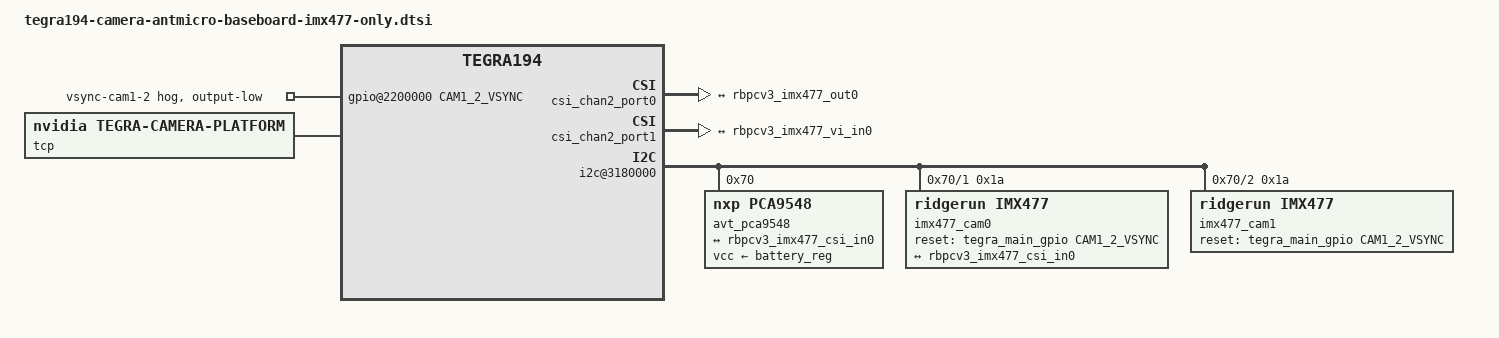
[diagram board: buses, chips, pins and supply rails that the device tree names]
/*
 * Copyright (c) 2018-2020, NVIDIA CORPORATION.  All rights reserved.
 *
 * This program is free software; you can redistribute it and/or modify
 * it under the terms of the GNU General Public License as published by
 * the Free Software Foundation; either version 2 of the License, or
 * (at your option) any later version.
 *
 * This program is distributed in the hope that it will be useful, but WITHOUT
 * ANY WARRANTY; without even the implied warranty of MERCHANTABILITY or
 * FITNESS FOR A PARTICULAR PURPOSE.  See the GNU General Public License for
 * more details.
 *
 * You should have received a copy of the GNU General Public License
 * along with this program.  If not, see <http://www.gnu.org/licenses/>.
 */
#include <dt-bindings/media/camera.h>

#define CAMERA_I2C_MUX_BUS(x) (0x1E + x)

#define CAM1_2_VSYNC	TEGRA194_MAIN_GPIO(Q, 4)

/ {
	gpio@2200000 {

		vsync-cam1-2 {
			gpio-hog;
			output-low;
			gpios = <CAM1_2_VSYNC 0>;
			label = "vsync-cam1-2";
			status = "okay";
		};

	};

	host1x {
		vi@15c10000  {
			num-channels = <1>;
			ports {
				#address-cells = <1>;
				#size-cells = <0>;
				vi_port0: port@0 {
					reg = <0>;
					rbpcv3_imx477_vi_in0: endpoint {
						status = "okay";
						port-index = <2>;
						bus-width = <2>;
						remote-endpoint = <&rbpcv3_imx477_csi_out0>;
					};
				};
			};
		};

		nvcsi@15a00000 {
			num-channels = <1>;
			#address-cells = <1>;
			#size-cells = <0>;
			csi_chan0: channel@0 {
				reg = <0>;
				ports {
					#address-cells = <1>;
					#size-cells = <0>;
					csi_chan2_port0: port@0 {
						reg = <0>;
						status = "okay";
						rbpcv3_imx477_csi_in0: endpoint@0 {
							port-index = <2>;
							bus-width = <2>;
							remote-endpoint = <&rbpcv3_imx477_out0>;
						};
					};
					csi_chan2_port1: port@1 {
						reg = <1>;
						status = "okay";
						rbpcv3_imx477_csi_out0: endpoint@1 {
							status = "okay";
							remote-endpoint = <&rbpcv3_imx477_vi_in0>;
						};
					};
				};
			};
		};
	};

	i2c@3180000 {
		avt_pca9548: avt_pca9548@70 {
			compatible = "nxp,pca9548";
			status = "okay";
			reg = <0x70>;
			#address-cells = <1>;
			#size-cells = <0>;
			vcc-supply = <&battery_reg>;
			force_bus_start = <CAMERA_I2C_MUX_BUS(0)>;

			/* I2C mux position 1 is the "right" camera on J6
			   Virtual I2C bus 31
			   It uses VSYNC_CAM1__2 == pin 216 == GPIO11 == GPIO3_PQ.06
			   It uses CSI ports 2 and 3 */
			i2c@1 {
				reg = <1>;
				i2c-mux,deselect-on-exit;
				#address-cells = <1>;
				#size-cells = <0>;
				imx477_cam0: imx477@1a {
					compatible = "ridgerun,imx477";
					/* I2C device address */
					reg = <0x1a>;

					/* V4L2 device node location */
					devnode = "video0";

					/* Physical dimensions of sensor */
					physical_w = "7.564";
					physical_h = "5.476";

					sensor_model = "imx477";

					use_sensor_mode_id = "true";

					// Technically, this isn't connected...
					reset-gpios = <&tegra_main_gpio CAM1_2_VSYNC GPIO_ACTIVE_HIGH>;


					mode0 { /* IMX477_MODE_4032X3040 */
						mclk_khz = "24000";
						num_lanes = "2";
						tegra_sinterface = "serial_c";
						phy_mode = "DPHY";
						discontinuous_clk = "no";
						dpcm_enable = "false";
						cil_settletime = "0";

						active_w = "4032";
						active_h = "3040";
						mode_type = "bayer";
						pixel_phase = "rggb";
						csi_pixel_bit_depth = "10";
						readout_orientation = "90";
						line_length = "9024";
						inherent_gain = "1";
						mclk_multiplier = "80";
						pix_clk_hz = "840000000";

						gain_factor = "16";
						framerate_factor = "1000000";
						exposure_factor = "1000000";
						min_gain_val = "16"; /* 1.00x */
						max_gain_val = "356"; /* 22x */
						step_gain_val = "1";
						default_gain = "16"; /* 1.00x */
						min_hdr_ratio = "1";
						max_hdr_ratio = "1";
						min_framerate = "2000000"; /* 2.0 fps */
						max_framerate = "30000000"; /* 30.0 fps */
						step_framerate = "1";
						default_framerate = "30000000"; /* 30.0 fps */
						min_exp_time = "13"; /* us */
						max_exp_time = "683709"; /* us */
						step_exp_time = "1";
						default_exp_time = "2495"; /* us */

						embedded_metadata_height = "2";
					};
					mode1 { /* IMX477_MODE_1920X1080 */
						mclk_khz = "24000";
						num_lanes = "2";
						tegra_sinterface = "serial_c";
						phy_mode = "DPHY";
						discontinuous_clk = "no";
						dpcm_enable = "false";
						cil_settletime = "0";

						active_w = "1920";
						active_h = "1080";
						mode_type = "bayer";
						pixel_phase = "rggb";
						csi_pixel_bit_depth = "10";
						readout_orientation = "90";
						line_length = "9024";
						inherent_gain = "1";
						mclk_multiplier = "80";
						pix_clk_hz = "840000000";

						gain_factor = "16";
						framerate_factor = "1000000";
						exposure_factor = "1000000";
						min_gain_val = "16"; /* 1.00x */
						max_gain_val = "356"; /* 22x */
						step_gain_val = "1";
						default_gain = "16"; /* 1.00x */
						min_hdr_ratio = "1";
						max_hdr_ratio = "1";
						min_framerate = "2000000"; /* 2.0 fps */
						max_framerate = "60000000"; /* 60.0 fps */
						step_framerate = "1";
						default_framerate = "60000000"; /* 60.0 fps */
						min_exp_time = "13"; /* us */
						max_exp_time = "683709"; /* us */
						step_exp_time = "1";
						default_exp_time = "2495"; /* us */

						embedded_metadata_height = "2";
					};
					mode2 { /* IMX477_MODE_1920X1440 */
						mclk_khz = "24000";
						num_lanes = "2";
						tegra_sinterface = "serial_c";
						phy_mode = "DPHY";
						discontinuous_clk = "no";
						dpcm_enable = "false";
						cil_settletime = "0";

						active_w = "1920";
						active_h = "1440";
						mode_type = "bayer";
						pixel_phase = "rggb";
						csi_pixel_bit_depth = "10";
						readout_orientation = "90";
						line_length = "6524";
						inherent_gain = "1";
						mclk_multiplier = "80";
						pix_clk_hz = "840000000";

						gain_factor = "16";
						framerate_factor = "1000000";
						exposure_factor = "1000000";
						min_gain_val = "16"; /* 1.00x */
						max_gain_val = "356"; /* 22x */
						step_gain_val = "1";
						default_gain = "16"; /* 1.00x */
						min_hdr_ratio = "1";
						max_hdr_ratio = "1";
						min_framerate = "2000000"; /* 2.0 fps */
						max_framerate = "60000000"; /* 60.0 fps */
						step_framerate = "1";
						default_framerate = "60000000"; /* 60.0 fps */
						min_exp_time = "13"; /* us */
						max_exp_time = "683709"; /* us */
						step_exp_time = "1";
						default_exp_time = "2495"; /* us */

						embedded_metadata_height = "2";
					};
					mode3 { /* IMX477_MODE_2028X1520 */
						mclk_khz = "24000";
						num_lanes = "2";
						tegra_sinterface = "serial_c";
						phy_mode = "DPHY";
						discontinuous_clk = "no";
						dpcm_enable = "false";
						cil_settletime = "0";

						active_w = "2028";
						active_h = "1520";
						mode_type = "bayer";
						pixel_phase = "rggb";
						csi_pixel_bit_depth = "10";
						readout_orientation = "90";
						line_length = "6524";
						inherent_gain = "1";
						mclk_multiplier = "80";
						pix_clk_hz = "840000000";

						gain_factor = "16";
						framerate_factor = "1000000";
						exposure_factor = "1000000";
						min_gain_val = "16"; /* 1.00x */
						max_gain_val = "356"; /* 22x */
						step_gain_val = "1";
						default_gain = "16"; /* 1.00x */
						min_hdr_ratio = "1";
						max_hdr_ratio = "1";
						min_framerate = "2000000"; /* 2.0 fps */
						max_framerate = "60000000"; /* 60.0 fps */
						step_framerate = "1";
						default_framerate = "60000000"; /* 60.0 fps */
						min_exp_time = "13"; /* us */
						max_exp_time = "683709"; /* us */
						step_exp_time = "1";
						default_exp_time = "2495"; /* us */

						embedded_metadata_height = "2";
					};

					ports {
						#address-cells = <1>;
						#size-cells = <0>;
						port@0 {
							reg = <0>;
							rbpcv3_imx477_out0: endpoint {
								port-index = <2>;
								bus-width = <2>;
								remote-endpoint = <&rbpcv3_imx477_csi_in0>;
							};
						};
					};
				};
			};

						/* I2C mux position 2 is the "right" camera on J7
			   Virtual I2C bus 32
			   It uses VSYNC_CAM2__2 == pin 130 == GPIO06 == GPIO3_PCC.03
			   It uses CSI ports 0 and 1 */
			i2c@2 {
				reg = <2>;
				i2c-mux,deselect-on-exit;
				#address-cells = <1>;
				#size-cells = <0>;
				imx477_cam1: imx477@1a {
					compatible = "ridgerun,imx477";
					/* I2C device address */
					reg = <0x1a>;

					/* V4L2 device node location */
					devnode = "video1";

					/* Physical dimensions of sensor */
					physical_w = "7.564";
					physical_h = "5.476";

					sensor_model = "imx477";

					use_sensor_mode_id = "true";

					// Technically, this isn't connected...
					reset-gpios = <&tegra_main_gpio CAM1_2_VSYNC GPIO_ACTIVE_HIGH>;


					mode0 { /* IMX477_MODE_4032X3040 */
						mclk_khz = "24000";
						num_lanes = "2";
						tegra_sinterface = "serial_c";
						phy_mode = "DPHY";
						discontinuous_clk = "no";
						dpcm_enable = "false";
						cil_settletime = "0";

						active_w = "4032";
						active_h = "3040";
						mode_type = "bayer";
						pixel_phase = "rggb";
						csi_pixel_bit_depth = "10";
						readout_orientation = "90";
						line_length = "9024";
						inherent_gain = "1";
						mclk_multiplier = "80";
						pix_clk_hz = "840000000";

						gain_factor = "16";
						framerate_factor = "1000000";
						exposure_factor = "1000000";
						min_gain_val = "16"; /* 1.00x */
						max_gain_val = "356"; /* 22x */
						step_gain_val = "1";
						default_gain = "16"; /* 1.00x */
						min_hdr_ratio = "1";
						max_hdr_ratio = "1";
						min_framerate = "2000000"; /* 2.0 fps */
						max_framerate = "30000000"; /* 30.0 fps */
						step_framerate = "1";
						default_framerate = "30000000"; /* 30.0 fps */
						min_exp_time = "13"; /* us */
						max_exp_time = "683709"; /* us */
						step_exp_time = "1";
						default_exp_time = "2495"; /* us */

						embedded_metadata_height = "2";
					};
					mode1 { /* IMX477_MODE_1920X1080 */
						mclk_khz = "24000";
						num_lanes = "2";
						tegra_sinterface = "serial_c";
						phy_mode = "DPHY";
						discontinuous_clk = "no";
						dpcm_enable = "false";
						cil_settletime = "0";

						active_w = "1920";
						active_h = "1080";
						mode_type = "bayer";
						pixel_phase = "rggb";
						csi_pixel_bit_depth = "10";
						readout_orientation = "90";
						line_length = "9024";
						inherent_gain = "1";
						mclk_multiplier = "80";
						pix_clk_hz = "840000000";

						gain_factor = "16";
						framerate_factor = "1000000";
						exposure_factor = "1000000";
						min_gain_val = "16"; /* 1.00x */
						max_gain_val = "356"; /* 22x */
						step_gain_val = "1";
						default_gain = "16"; /* 1.00x */
						min_hdr_ratio = "1";
						max_hdr_ratio = "1";
						min_framerate = "2000000"; /* 2.0 fps */
						max_framerate = "60000000"; /* 60.0 fps */
						step_framerate = "1";
						default_framerate = "60000000"; /* 60.0 fps */
						min_exp_time = "13"; /* us */
						max_exp_time = "683709"; /* us */
						step_exp_time = "1";
						default_exp_time = "2495"; /* us */

						embedded_metadata_height = "2";
					};
					mode2 { /* IMX477_MODE_1920X1440 */
						mclk_khz = "24000";
						num_lanes = "2";
						tegra_sinterface = "serial_c";
						phy_mode = "DPHY";
						discontinuous_clk = "no";
						dpcm_enable = "false";
						cil_settletime = "0";

						active_w = "1920";
						active_h = "1440";
						mode_type = "bayer";
						pixel_phase = "rggb";
						csi_pixel_bit_depth = "10";
						readout_orientation = "90";
						line_length = "6524";
						inherent_gain = "1";
						mclk_multiplier = "80";
						pix_clk_hz = "840000000";

						gain_factor = "16";
						framerate_factor = "1000000";
						exposure_factor = "1000000";
						min_gain_val = "16"; /* 1.00x */
						max_gain_val = "356"; /* 22x */
						step_gain_val = "1";
						default_gain = "16"; /* 1.00x */
						min_hdr_ratio = "1";
						max_hdr_ratio = "1";
						min_framerate = "2000000"; /* 2.0 fps */
						max_framerate = "60000000"; /* 60.0 fps */
						step_framerate = "1";
						default_framerate = "60000000"; /* 60.0 fps */
						min_exp_time = "13"; /* us */
						max_exp_time = "683709"; /* us */
						step_exp_time = "1";
						default_exp_time = "2495"; /* us */

						embedded_metadata_height = "2";
					};
					mode3 { /* IMX477_MODE_2028X1520 */
						mclk_khz = "24000";
						num_lanes = "2";
						tegra_sinterface = "serial_c";
						phy_mode = "DPHY";
						discontinuous_clk = "no";
						dpcm_enable = "false";
						cil_settletime = "0";

						active_w = "2028";
						active_h = "1520";
						mode_type = "bayer";
						pixel_phase = "rggb";
						csi_pixel_bit_depth = "10";
						readout_orientation = "90";
						line_length = "6524";
						inherent_gain = "1";
						mclk_multiplier = "80";
						pix_clk_hz = "840000000";

						gain_factor = "16";
						framerate_factor = "1000000";
						exposure_factor = "1000000";
						min_gain_val = "16"; /* 1.00x */
						max_gain_val = "356"; /* 22x */
						step_gain_val = "1";
						default_gain = "16"; /* 1.00x */
						min_hdr_ratio = "1";
						max_hdr_ratio = "1";
						min_framerate = "2000000"; /* 2.0 fps */
						max_framerate = "60000000"; /* 60.0 fps */
						step_framerate = "1";
						default_framerate = "60000000"; /* 60.0 fps */
						min_exp_time = "13"; /* us */
						max_exp_time = "683709"; /* us */
						step_exp_time = "1";
						default_exp_time = "2495"; /* us */

						embedded_metadata_height = "2";
					};
				};
			};

		};
	};

	tcp: tegra-camera-platform {
		compatible = "nvidia, tegra-camera-platform";
		/**
		* Physical settings to calculate max ISO BW
		*
		* num_csi_lanes = <>;
		* Total number of CSI lanes when all cameras are active
		*
		* max_lane_speed = <>;
		* Max lane speed in Kbit/s
		*
		* min_bits_per_pixel = <>;
		* Min bits per pixel
		*
		* vi_peak_byte_per_pixel = <>;
		* Max byte per pixel for the VI ISO case
		*
		* vi_bw_margin_pct = <>;
		* Vi bandwidth margin in percentage
		*
		* max_pixel_rate = <>;
		* Max pixel rate in Kpixel/s for the ISP ISO case
		*
		* isp_peak_byte_per_pixel = <>;
		* Max byte per pixel for the ISP ISO case
		*
		* isp_bw_margin_pct = <>;
		* Isp bandwidth margin in percentage
		*/
		num_csi_lanes = <4>;
		max_lane_speed = <1500000>;
		min_bits_per_pixel = <10>;
		vi_peak_byte_per_pixel = <2>;
		vi_bw_margin_pct = <25>;
		max_pixel_rate = <240000>;
		isp_peak_byte_per_pixel = <5>;
		isp_bw_margin_pct = <25>;

		/**
		 * The general guideline for naming badge_info contains 3 parts, and is as follows,
		 * The first part is the camera_board_id for the module; if the module is in a FFD
		 * platform, then use the platform name for this part.
		 * The second part contains the position of the module, ex. "rear" or "front".
		 * The third part contains the last 6 characters of a part number which is found
		 * in the module's specsheet from the vendor.
		 */
		modules {

			cam_module0: module0 {
				badge = "antmicro_front_imx477";
				position = "top";
				orientation = "1";
				status = "okay";
				cam_module0_drivernode0: drivernode0 {
					status = "okay";
					pcl_id = "v4l2_sensor";
					devname = "imx477 31-001a";
					proc-device-tree = "/proc/device-tree/i2c@3180000/avt_pca9548@70/i2c@1/imx477@1a";
				};
			};
		};
	};
};

